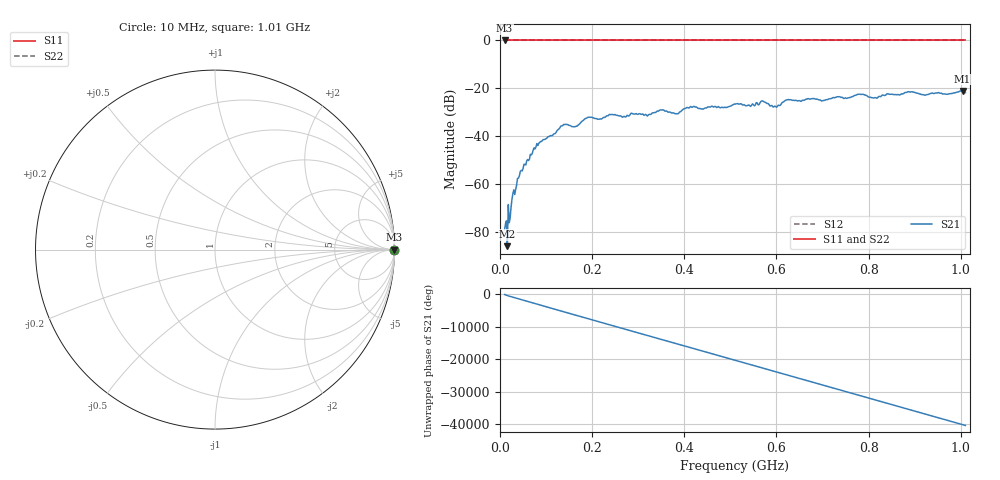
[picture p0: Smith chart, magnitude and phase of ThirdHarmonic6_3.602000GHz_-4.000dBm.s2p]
! 8/17/2025 12:00:38 PM
! C:\ANRITSUVNA\TEMP\TEMP.S2P
! CHANNEL.1
! TR.MEASUREMENT
! RAW.DATA
! RF.CORRECTION.OFF
! AVERAGING.OFF
! IF.BANDWIDTH: 5KHZ
! SWEEPTYPE:  FREQ.SWEEP(Linear)
! Reference Plane Port Info
! PORT:  PORT1  PORT2
! DISTANCE:  0  m  0  m
! TIME:  0  s  0  s
! PHASE.OFFSET:  0  deg.  0  deg.
! LOSS:  0  dB  0  dB
! REF.LOSS:  0  dB  0  dB
! REF.FREQ:  0  Hz  0  Hz
! Power Info
! POWER:  -20  dBm  -20  dBm
! EFF.POWER:  -20  dBm  -20  dBm
! SOURCE.ATTEN:  0  dB  0  dB
! TEST.ATTEN:  0  dB  0  dB
# GHZ S RI R 50.0
! FREQ.GHZ  S11RE  S11IM  S21RE  S21IM  S12RE  S12IM  S22RE  S22IM
!; PortSelection: Port_12
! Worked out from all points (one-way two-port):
!   501 points, 10 MHz to 1.01 GHz, reference 50 ohm
!   highest |S21| = -21.18 dB at 1.004 GHz (marker M1); lowest = -86.1 dB at 16 MHz (marker M2)
!   lowest |S11| = 0.0 dB at 10 MHz (marker M3)
!   |S11| at or under -10 dB: nowhere
!   |S22| runs from 0.0 to 0.0 dB; largest |S21 - S12| = 1.1
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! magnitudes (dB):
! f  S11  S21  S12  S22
! 10 MHz  0.0  -79.2  0.0  0.0
! 16 MHz  0.0  -86.1  0.0  0.0
! 20 MHz  0.0  -76.3  0.0  0.0
! 28 MHz  0.0  -64.2  0.0  0.0
! 42 MHz  0.0  -56.7  0.0  0.0
! 76 MHz  0.0  -45.4  0.0  0.0
! 136 MHz  0.0  -35.7  0.0  0.0
! 164 MHz  0.0  -36.1  0.0  0.0
! 178 MHz  0.0  -33.8  0.0  0.0
! 194 MHz  0.0  -32.1  0.0  0.0
! 322 MHz  0.0  -31.1  0.0  0.0
! 344 MHz  0.0  -29.6  0.0  0.0
! 384 MHz  0.0  -30.7  0.0  0.0
! 416 MHz  0.0  -28.0  0.0  0.0
! 510 MHz  0.0  -26.6  0.0  0.0
! 570 MHz  0.0  -25.3  0.0  0.0
! 596 MHz  0.0  -27.5  0.0  0.0
! 624 MHz  0.0  -24.9  0.0  0.0
! 678 MHz  0.0  -24.3  0.0  0.0
! 844 MHz  0.0  -22.5  0.0  0.0
! 1.004 GHz  0.0  -21.2  0.0  0.0
! 1.01 GHz  0.0  -21.8  0.0  0.0
